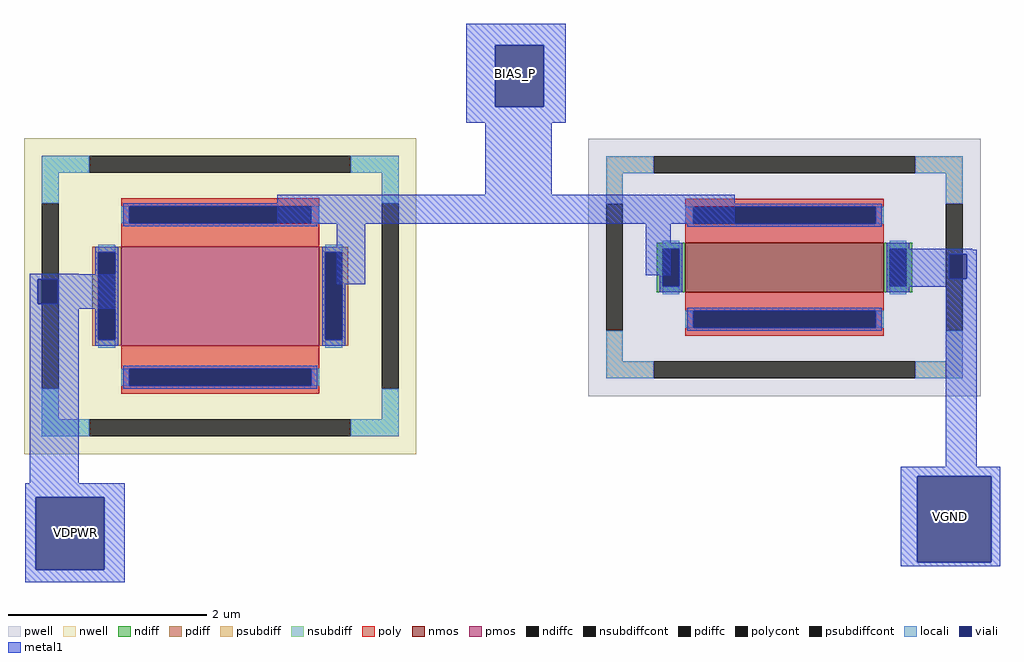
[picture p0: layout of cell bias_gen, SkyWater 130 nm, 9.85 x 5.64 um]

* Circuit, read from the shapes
.subckt bias_gen BIAS_P VGND VDPWR
XM1 VGND BIAS_P BIAS_P VGND sky130_fd_pr__nfet_01v8 w=0.5 l=2
XM2 BIAS_P BIAS_P VDPWR VDPWR sky130_fd_pr__pfet_01v8 w=1 l=2
.ends

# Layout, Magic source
magic
tech sky130A
magscale 1 2
<< viali >>
rect 898 -102 996 22
rect 1815 -449 1850 -400
rect -25 -500 15 -450
rect -29 -1036 109 -890
rect 1750 -1021 1899 -848
<< metal1 >>
rect 840 22 1040 66
rect 840 -102 898 22
rect 996 -102 1040 22
rect 840 -134 1040 -102
rect 878 -280 1012 -134
rect 458 -338 1382 -280
rect -41 -440 58 -439
rect -41 -450 130 -440
rect -41 -500 -25 -450
rect 15 -500 130 -450
rect 578 -460 636 -338
rect 1202 -442 1252 -338
rect 1689 -391 1861 -388
rect 1689 -400 1870 -391
rect 1689 -449 1815 -400
rect 1850 -449 1870 -400
rect 1689 -465 1870 -449
rect -41 -510 130 -500
rect -41 -862 58 -510
rect 1808 -829 1870 -465
rect 1717 -848 1917 -829
rect -50 -890 150 -862
rect -50 -1036 -29 -890
rect 109 -1036 150 -890
rect 1717 -1021 1750 -848
rect 1899 -1021 1917 -848
rect 1717 -1029 1917 -1021
rect -50 -1062 150 -1036
use sky130_fd_pr__nfet_01v8_AAS3EU  XM_BIAS_N
transform 1 0 1482 0 1 -426
box -396 -260 396 260
use sky130_fd_pr__pfet_01v8_KLMCYL  XM_BIAS_P
transform -1 0 343 0 -1 -484
box -396 -319 396 319
<< labels >>
flabel metal1 840 -134 1040 66 0 FreeSans 1600 0 0 0 BIAS_P
port 0 nsew
flabel metal1 1717 -1029 1917 -829 0 FreeSans 1600 0 0 0 VGND
port 1 nsew
flabel metal1 -50 -1062 150 -862 0 FreeSans 1600 0 0 0 VDPWR
port 2 nsew
<< end >>

# cell sky130_fd_pr__nfet_01v8_AAS3EU: kit device sky130_fd_pr__nfet_01v8, w 0.5 l 2.0 m 1 nf 1 diffcov 100 polycov 100 guard 1 glc 1 grc 1 gtc 1 gbc 1 tbcov 100 rlcov 100 topc 1 botc 1 poverlap 0 doverlap 1 lmin 0.15 wmin 0.42 class mosfet compatible {sky130_fd_pr__nfet_01v8 sky130_fd_pr__nfet_01v8_lvt sky130_fd_bs_flash__special_sonosfet_star sky130_fd_pr__nfet_g5v0d10v5 sky130_fd_pr__nfet_05v0_nvt sky130_fd_pr__nfet_03v3_nvt} full_metal 1 conn_gates 0 viasrc 100 viadrn 100 viagate 100 viagb 0 viagr 0 viagl 0 viagt 0 doports 1 ad 0.145 as 0.145 pd 1.58 ps 1.58 nrd 0.58 nrs 0.58 sa 0 sb 0 sd 0 mult 1

# cell sky130_fd_pr__pfet_01v8_KLMCYL: kit device sky130_fd_pr__pfet_01v8, w 1.0 l 2.0 m 1 nf 1 diffcov 100 polycov 100 guard 1 glc 1 grc 1 gtc 1 gbc 1 tbcov 100 rlcov 100 topc 1 botc 1 poverlap 0 doverlap 1 lmin 0.15 wmin 0.42 class mosfet compatible {sky130_fd_pr__pfet_01v8 sky130_fd_pr__pfet_01v8_lvt sky130_fd_pr__pfet_01v8_hvt sky130_fd_pr__pfet_g5v0d10v5} full_metal 1 conn_gates 0 viasrc 100 viadrn 100 viagate 100 viagb 0 viagr 0 viagl 0 viagt 0 doports 1 ad 0.29 as 0.29 pd 2.58 ps 2.58 nrd 0.29 nrs 0.29 sa 0 sb 0 sd 0 mult 1
